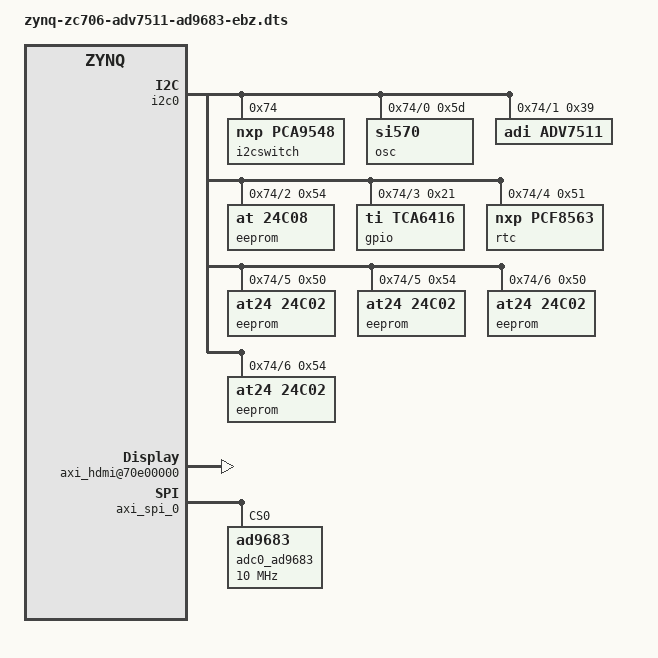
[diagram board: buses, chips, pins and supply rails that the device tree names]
/dts-v1/;

/include/ "zynq-zc706.dtsi"

/ {
	clocks {
		ad9683_clkin: clock@0 {
			#clock-cells = <0>;
			compatible = "fixed-clock";
			clock-frequency = <250000000>;
			clock-output-names = "clkin";
		};
	};

	fpga_axi: fpga-axi@0 {
		compatible = "simple-bus";
		#address-cells = <0x1>;
		#size-cells = <0x1>;
		ranges;

		i2c0: i2c@0 {
			compatible = "xlnx,axi-iic-1.02.a", "xlnx,xps-iic-2.00.a";
			interrupt-parent = <&gic>;
			interrupts = < 0 55 4 >;
			reg = < 0x41600000 0x10000 >;
			bus-id = <0>;
			#address-cells = <1>;
			#size-cells = <0>;

			i2cswitch@74 {
				compatible = "nxp,pca9548";
				#address-cells = <1>;
				#size-cells = <0>;
				reg = <0x74>;

				i2c@0 {
					#address-cells = <1>;
					#size-cells = <0>;
					reg = <0>;
					osc@5d {
						compatible = "si570";
						reg = <0x5d>;
						factory-fout = <156250000>;
						initial-fout = <148500000>;
					};
				};

				i2c_adv7511: i2c@1 {
				    #address-cells = <1>;
				    #size-cells = <0>;
				    reg = <1>;

				    adv7511: adv7511 {
						compatible = "adi,adv7511";
						reg = <0x39>;

						adi,input-id = <0x00>;
						adi,input-style = <0x01>;
						adi,bit-justification = <0x00>;
						adi,input-color-depth = <0x3>;
						adi,sync-pulse = <0x03>;
						adi,up-conversion = <0x00>;
						adi,timing-generation-sequence = <0x00>;
						adi,vsync-polarity = <0x02>;
						adi,hsync-polarity = <0x02>;
						adi,tdms-clock-inversion;
						adi,clock-delay = <0x03>;
				    };
				};

				i2c@2 {
					#address-cells = <1>;
					#size-cells = <0>;
					reg = <2>;
					eeprom@54 {
						compatible = "at,24c08";
						reg = <0x54>;
					};
				};

				i2c@3 {
					#address-cells = <1>;
					#size-cells = <0>;
					reg = <3>;
					gpio@21 {
						compatible = "ti,tca6416";
						reg = <0x21>;
						gpio-controller;
						#gpio-cells = <2>;
					};
				};

				i2c@4 {
					#address-cells = <1>;
					#size-cells = <0>;
					reg = <4>;
					rtc@54 {
						compatible = "nxp,pcf8563";
						reg = <0x51>;
					};
				};

				i2c@5 { /* HPC IIC */
					#address-cells = <1>;
					#size-cells = <0>;
					reg = <5>;

					eeprom@50 {
						compatible = "at24,24c02";
						reg = <0x50>;
					};

					eeprom@54 {
						compatible = "at24,24c02";
						reg = <0x54>;
					};
				};

				i2c@6 { /* LPC IIC */
					#address-cells = <1>;
					#size-cells = <0>;
					reg = <6>;
					eeprom@50 {
						compatible = "at24,24c02";
						reg = <0x50>;
					};

					eeprom@54 {
						compatible = "at24,24c02";
						reg = <0x54>;
					};
				};

			};
		};

		axi_vdma_0: axivdma@43000000 {
			#address-cells = <1>;
			#size-cells = <1>;
			#dma-cells = <1>;
			compatible = "xlnx,axi-vdma";
			ranges = < 0x43000000 0x43000000 0x10000 >;
			reg = < 0x43000000 0x10000 >;
			xlnx,include-sg = <0x0>;
			xlnx,num-fstores = <0x3>;
			dma-channel@43000000 {
				compatible = "xlnx,axi-vdma-mm2s-channel";
				interrupts = <0 57 0x4>;
				xlnx,datawidth = <0x40>;
				xlnx,genlock-mode = <0x0>;
				xlnx,include-dre = <0x0>;
			};
		};

		fpga_clock: fpga_clock {
			compatible = "fixed-clock";
			#clock-cells = <0>;
			clock-frequency  = <200000000>;
		};

		hdmi_clock: axi-clkgen@79020000 {
			compatible = "adi,axi-clkgen-1.00.a";
			reg = < 0x79020000 0x10000 >;
			#clock-cells = <0>;
			clocks = <&fpga_clock>;
		};

		axi_hdmi@70e00000 {
			compatible = "adi,axi-hdmi-1.00.a";
			reg = <0x70e00000 0x10000>;
			encoder-slave = <&adv7511>;
			dma-request = <&axi_vdma_0 0>;
			clocks = <&hdmi_clock>;
			adi,is-rgb;
		};

		axi_dma_0: axidma@40420000 {
			#address-cells = <1>;
			#size-cells = <1>;
			#dma-cells = <1>;
			compatible = "xlnx,axi-dma";
			reg = < 0x40400000 0x10000 >;
//			xlnx,sg-include-stscntrl-strm = <0x0>;
			dma-channel@41e20030 {
				compatible = "xlnx,axi-dma-s2mm-channel";
				interrupt-parent = <&gic>;
				interrupts = < 0 59 4 >;
				xlnx,datawidth = <0x40>;
				xlnx,include-dre = <0x0>;
			} ;
		} ;

		axi_jesd204b_rx1_0: axi-jesd204b-rx1@6f400000 {
			compatible = "xlnx,axi-jesd204b-rx1-1.00.a";
			reg = < 0x6f400000 0x10000 >;
			jesd,lanesync_en;
			jesd,scramble_en;
			jesd,frames-per-multiframe = <32>;
			jesd,bytes-per-frame = <2>;
			clocks = <&ad9683_clkin 0>;
			clock-names = "clkin";
		} ;

		axi_spi_0: spi@42000000 {
			compatible = "xlnx,axi-spi-1.02.a", "xlnx,xps-spi-2.00.a";
			#address-cells = <1>;
			#size-cells = <0>;
			interrupt-parent = <&gic>;
			interrupts = < 0 58 4 >;
			reg = < 0x42000000 0x10000 >;
			xlnx,family = "zynq";
			xlnx,fifo-exist = <0x1>;
			xlnx,instance = "axi_spi_0";
			xlnx,num-ss-bits = <0x2>;
			xlnx,num-transfer-bits = <0x8>;
			xlnx,sck-ratio = <0x10>;

			adc0_ad9683: ad9683@0 {
				#address-cells = <1>;
				#size-cells = <0>;
				compatible = "ad9683";
				reg = <0>;
				spi-max-frequency = <10000000>;
				clocks = <&ad9683_clkin 0>;
				clock-names = "clkin";
			};
		} ;

		axi_ad9863: cf-ad9683@79000000 {
			compatible = "xlnx,axi-ad9683-1.00.a";
			reg = < 0x79000000 0x10000 >;
			dma-request = <&axi_dma_0 0>;
			spibus-connected = <&adc0_ad9683>;
			xlnx,dphase-timeout = <0x8>;
			xlnx,family = "zynq";
			xlnx,num-mem = <0x1>;
			xlnx,num-reg = <0x1>;
			xlnx,s-axi-min-size = <0x1ff>;
			xlnx,slv-awidth = <0x20>;
			xlnx,slv-dwidth = <0x20>;
			xlnx,use-wstrb = <0x0>;
		} ;

	};
};
